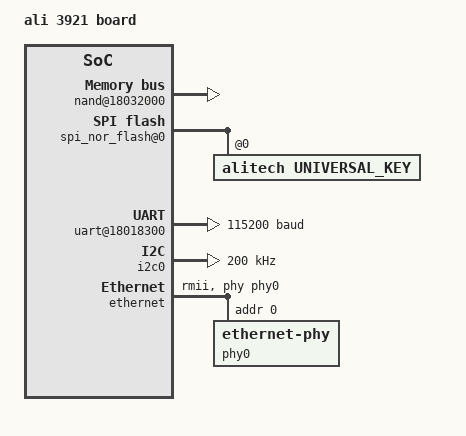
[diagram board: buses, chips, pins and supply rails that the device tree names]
/*
* ALi platform DTS
* Copyright(C) 2014 ALi Corporation. All rights reserved.
*
* This program is free software; you can redistribute it and/or modify
* it under the terms of the GNU General Public License version 2 as
* published by the Free Software Foundation.
*
* This program is distributed in the hope that it will be useful,
* but WITHOUT ANY WARRANTY; without even the implied warranty of
* MERCHANTABILITY or FITNESS FOR A PARTICULAR PURPOSE.  See the
* GNU General Public License for more details.
*/

/dts-v1/;
#include "ali_m3735.dtsi"
#include "see.dtsi"
#include "mtd.dtsi"
#include "mapping.dtsi"
#include "as.dtsi"
#include "bootargs.dtsi"
/ {
	  model = "ali 3921 board";
	  compatible = "ali,3921";
	  #address-cells = <1>;
    #size-cells = <1>;
    interrupt-parent=<&gic>;

	  nand@18032000 {
			 compatible = "ali_tech,nandctrl";
			 reg = <0x18032000 0x60>;
			 interrupts=<0 48 4>; //80-8
			 pinmux_reg3=<0x18000490>;
			 pinmux_reg3_bits_set=<9 10>;
			 pinmux_reg3_bits_clr=<0 1 2 3 8>;
			 //nand_wp_gpio = <&gpio0 23 0>;
			 status = "okay";
		};
		
		/* list of SPI devices */
		spi_nor_flash@0 {
			  compatible = "ali_tech,3921_spi_nor_flash";
			  reg = <0x18016000 0x1000>;
			  spi-max-frequency = <19200000>;
			  status = "okay";
        universal_key@0{  
			  compatible = "alitech,universal_key";
			  offset = <0x00001900>;
		  };
		};

		uart@18018300 {
			compatible = "ns16550a";
			reg = <0x18018300 0x0C>;
			interrupts = <16>;
			clock-frequency = <1843200>;
			current-speed = <115200>;
			reg-offset = <0>;
			reg-shift = <0>;
			fifo-size = <16>;
			reg-io-width = <1>;
		};
		i2c0: i2c@18018200 {
			#address-cells = <1>;
			#size-cells = <1>;
			compatible = "alitech,ali-i2c";
			clock-names = "scb_clk";
			reg = <0x18018200 0x20>;
			interrupts = <18>;
			clock-frequency = <200000>; /* 400KHz is our max, 100KHz is the processor min */
			//pinctrl-0 = <&i2c_pin_mux>;
			pinctrl-names = "default";
		};
		wdt@18018500 {
			compatible = "alitech,ali-wdt";
			reg = <0x18018500 0x0A>;
			timeout-secs = <10>;
			nowayout = <1>;
			wdt_mode = <32>;
		};

		/* ALi TOE2 MAC nodes
		 * Required properties:
		 *  - compatible : Should be "alitech,cap210-toe2".
		 *  - reg : Address and length of the register set for the
		 *          device.
		 *  - interrupts : Should contain toe2 mac interrupt.
		 *  - rx-csum-enable : String, hardware rx check sum enable.
		 *                     Supported values are : "true", "flase".
		 *  - tx-csum-enable : String, hardware tx check sum enable.
		 *                     Supported values are : "true", "flase".
		 *  - phy-mode : String, operation mode of the PHY interface.
		 *               Supported values are: "mii", "gmii", "rmii",
		 *               "rgmii".
		 *  - phy-reset-gpios : GPIO used to drive phy reset (optional).
		 *  - phy-reset-duration : Reset duration in milliseconds
		 *                         (optional).
		 *  - phy-link-gpios : GPIO used to show phy light blink for
		 *                     speed and link (optional).
		 *
		 * Optional properties:
		 *  - local-mac-address : 6 bytes, mac address.
		 */
		ethernet:ethernet@1802C000 {
			compatible = "alitech,cap210-toe2";
			#address-cells =<1>;
			#size-cells = <0>;
			device_type = "network";
			model = "ALI TOE2";
			reg = <0x1802C000 0x100>;
			interrupts = <46>;
			local-mac-address = [00 90 E6 00 00 0A];
			rx-csum-enable = <1>;
			tx-csum-enable = <1>;
			phy = <&phy0>;
			/*
			 * phy-reset-gpio = <&gpio2 20 0>;
			 * phy-reset-duration = <200>;
			 * phy-blink-gpios = <&gpio1 1 0 &gpio2 31 0>;
			 */
			phy-mode = "rmii";
			phy-reversemii = <0>;
			/*
			 *clocks = <&cap210_clks_gate1 13>;
			 *clock-names = "mac_clk";
			*/
			status = "okay";
			/*
			 * pinctrl-0 = <&eth_pin_mux>;
			 * pinctrl-names = "default"; 
			*/
			/* PHY nodes
			 * Required properties:
			 * - device_type : Should be "ethernet-phy"
			 * - reg : The ID number for the phy, usually a small
			 *         integer
			 */
			phy0: ethernet-phy@0 {
				reg = <0>;
				device_type = "ethernet-phy";
			};
		};
};
